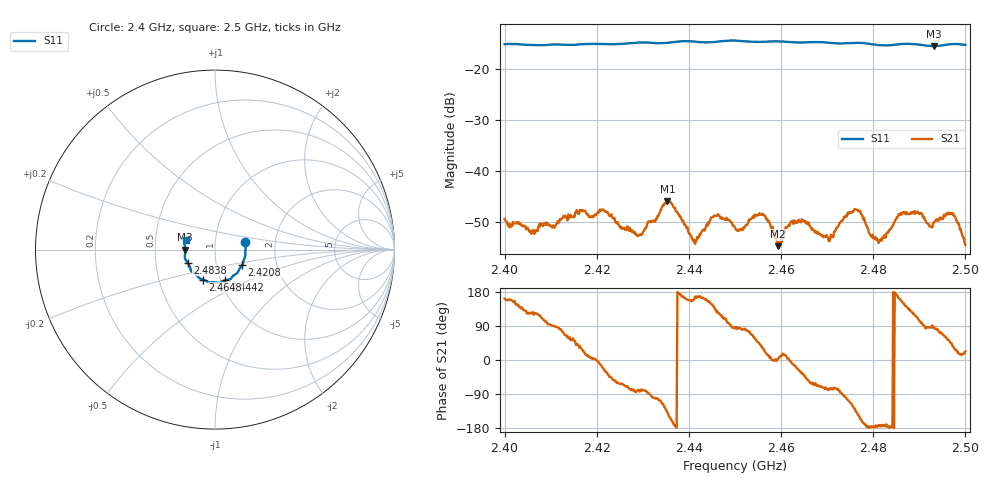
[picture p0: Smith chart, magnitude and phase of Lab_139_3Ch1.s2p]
# Hz S RI R 50
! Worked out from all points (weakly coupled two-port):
!   601 points, 2.4 GHz to 2.5 GHz, reference 50 ohm
!   highest |S21| = -45.91 dB at 2.4353 GHz (marker M1); lowest = -54.7 dB at 2.4593 GHz (marker M2)
!   lowest |S11| = -15.6 dB at 2.4932 GHz (marker M3), VSWR 1.40, Z = 35.8 - j0.0812 ohm
!   |S11| at or under -10 dB: start of sweep to end of sweep
!   S12 and S22 are empty: the file has one direction only
!   S11 on the Smith chart (normalised r, x): 2.4 GHz: 1.40, +0.12; 2.4208 GHz: 1.33, -0.24; 2.4442 GHz: 1.05, -0.37; 2.4648 GHz: 0.83, -0.29; 2.4838 GHz: 0.73, -0.11; 2.5 GHz: 0.72, +0.08
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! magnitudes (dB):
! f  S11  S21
! 2.4 GHz  -15.3  -49.4
! 2.4062 GHz  -15.4  -51.6
! 2.4167 GHz  -15.2  -47.6
! 2.4208 GHz  -15.2  -47.9
! 2.429 GHz  -14.9  -52.7
! 2.4333 GHz  -15.0  -48.8
! 2.4353 GHz  -15.0  -45.9
! 2.4412 GHz  -14.7  -53.4
! 2.4442 GHz  -14.9  -50.1
! 2.45 GHz  -14.5  -51.1
! 2.4558 GHz  -14.8  -48.6
! 2.4593 GHz  -14.7  -54.7
! 2.4648 GHz  -14.9  -49.7
! 2.4667 GHz  -14.8  -51.6
! 2.4708 GHz  -15.0  -52.5
! 2.4763 GHz  -15.0  -47.6
! 2.4807 GHz  -15.4  -53.5
! 2.4833 GHz  -15.5  -51.8
! 2.4838 GHz  -15.4  -51.3
! 2.4932 GHz  -15.6  -50.0
! 2.4972 GHz  -15.2  -48.5
! 2.5 GHz  -15.4  -54.5
